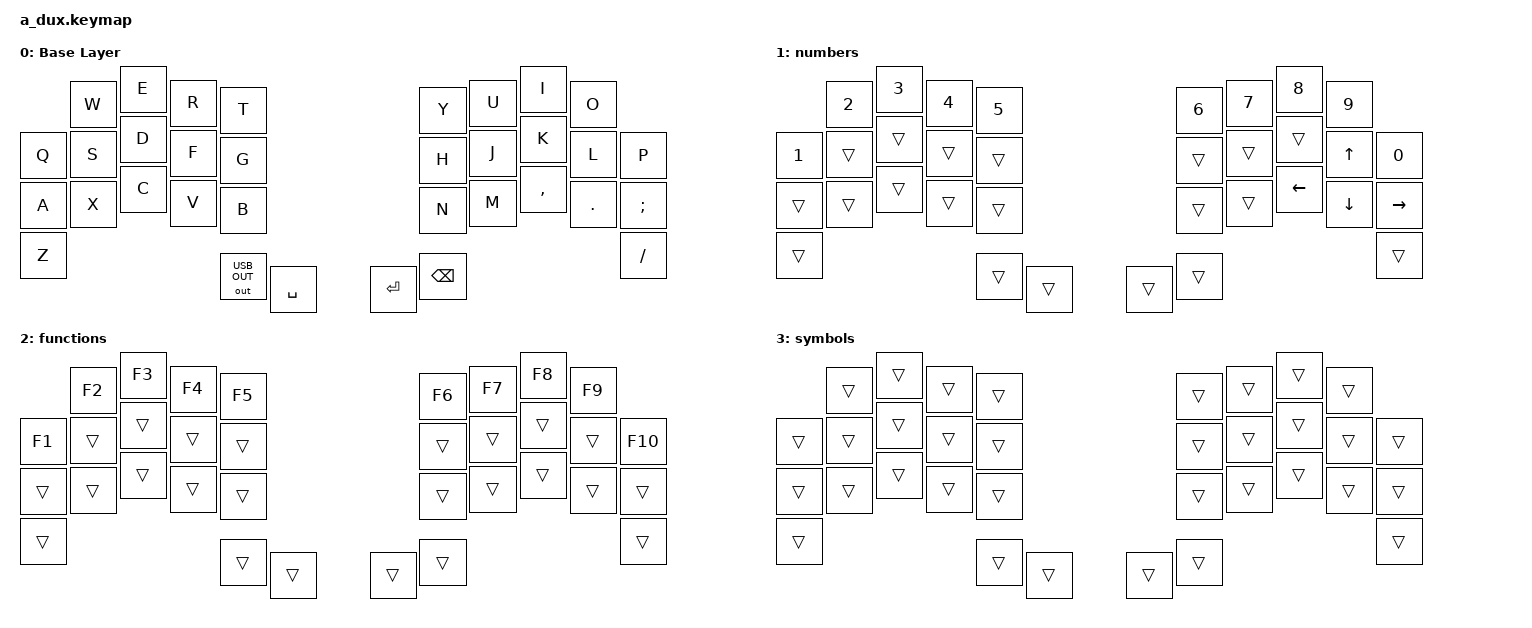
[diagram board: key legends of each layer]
/*
 * Copyright (c) 2021 The ZMK Contributors
 *
 * SPDX-License-Identifier: MIT
 */

#include <behaviors.dtsi>
#include <dt-bindings/zmk/keys.h>

/ {
    combos {
        compatible = "zmk,combos";
        combo_unlock {
            timeout-ms = <50>;
            key-positions = <0 1>;
            bindings = <&studio_unlock>;
        };
    };
};
/ {
    keymap {
        compatible = "zmk,keymap";

        // This is a sample keymap intended to be replaced with your own

        base_layer {
            display-name = "Base Layer";
            bindings = <
&kp Q  &kp W  &kp E  &kp R  &kp T                          &kp Y          &kp U  &kp I      &kp O    &kp P
&kp A  &kp S  &kp D  &kp F  &kp G                          &kp H          &kp J  &kp K      &kp L    &kp SEMI
&kp Z  &kp X  &kp C  &kp V  &kp B                          &kp N          &kp M  &kp COMMA  &kp DOT  &kp SLASH
                            &out USB_OUT  &kp SPACE    &kp ENTER  &kp BACKSPACE
            >;
        };

        numbers {
            bindings = <
&kp N1  &kp N2  &kp N3  &kp N4  &kp N5                    &kp N6  &kp N7  &kp N8    &kp N9        &kp N0
&trans  &trans  &trans  &trans  &trans                    &trans  &trans  &trans    &kp UP_ARROW  &kp RIGHT
&trans  &trans  &trans  &trans  &trans                    &trans  &trans  &kp LEFT  &kp DOWN      &trans
                                &trans  &trans    &trans  &trans
            >;

            display-name = "numbers";
        };

        functions {
            bindings = <
&kp F1  &kp F2  &kp F3  &kp F4  &kp F5                    &kp F6  &kp F7  &kp F8  &kp F9  &kp F10
&trans  &trans  &trans  &trans  &trans                    &trans  &trans  &trans  &trans  &trans
&trans  &trans  &trans  &trans  &trans                    &trans  &trans  &trans  &trans  &trans
                                &trans  &trans    &trans  &trans
            >;

            display-name = "functions";
        };

        symbols {
            bindings = <
&trans  &trans  &trans  &trans  &trans                    &trans  &trans  &trans  &trans  &trans
&trans  &trans  &trans  &trans  &trans                    &trans  &trans  &trans  &trans  &trans
&trans  &trans  &trans  &trans  &trans                    &trans  &trans  &trans  &trans  &trans
                                &trans  &trans    &trans  &trans
            >;

            display-name = "symbols";
        };
    };
};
